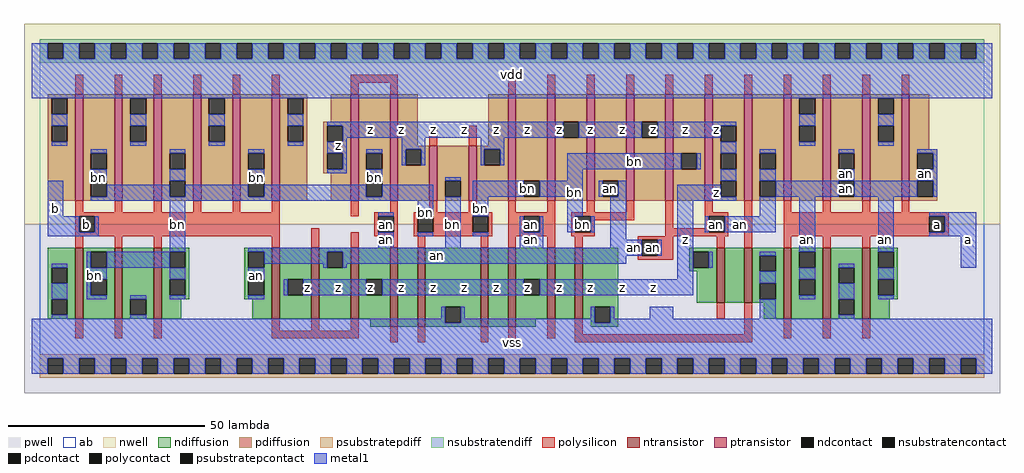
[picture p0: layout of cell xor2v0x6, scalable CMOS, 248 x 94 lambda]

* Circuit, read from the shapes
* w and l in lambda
.subckt xor2v0x6 a an b bn vdd vss z
M1 bn b vss vss nfet w=18 l=2 m=3
M2 z b an vss nfet w=18 l=2 m=3
M3 n1 an z vss nfet w=20 l=2
M4 vss bn n1 vss nfet w=20 l=2
M5 n2 bn vss vss nfet w=20 l=2
M6 z an n2 vss nfet w=20 l=2
M7 n3 an z vss nfet w=18 l=2
M8 vss bn n3 vss nfet w=18 l=2
M9 n4 an z vss nfet w=14 l=2
M10 vss bn n4 vss nfet w=14 l=2
M11 an a vss vss nfet w=18 l=2 m=3
M12 bn b vdd vdd pfet w=27 l=2 m=6
M13 bn an z vdd pfet w=27 l=2 m=6
M14 an bn z vdd pfet w=14 l=2 m=2
M15 an bn z vdd pfet w=27 l=2 m=3
M16 vdd a an vdd pfet w=27 l=2 m=4
.ends

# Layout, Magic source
magic
tech scmos
<< ab >>
rect 0 0 240 80
<< pwell >>
rect -4 -7 244 36
<< nwell >>
rect -4 36 244 87
<< polysilicon >>
rect 9 69 11 74
rect 19 69 21 74
rect 29 69 31 74
rect 39 69 41 74
rect 49 69 51 74
rect 59 69 61 74
rect 79 72 91 74
rect 79 69 81 72
rect 89 69 91 72
rect 119 69 121 74
rect 129 69 131 74
rect 139 69 141 74
rect 149 69 151 74
rect 159 69 161 74
rect 169 69 171 74
rect 179 69 181 74
rect 189 69 191 74
rect 199 69 201 74
rect 209 69 211 74
rect 219 69 221 74
rect 99 56 101 61
rect 109 56 111 61
rect 9 39 11 42
rect 19 39 21 42
rect 29 39 31 42
rect 39 39 41 42
rect 49 39 51 42
rect 59 39 61 42
rect 9 38 61 39
rect 79 38 81 42
rect 89 39 91 42
rect 99 39 101 42
rect 109 39 111 42
rect 119 39 121 42
rect 129 39 131 42
rect 139 39 141 42
rect 149 39 151 42
rect 85 38 91 39
rect 9 34 10 38
rect 14 34 61 38
rect 9 33 61 34
rect 9 30 11 33
rect 19 30 21 33
rect 29 30 31 33
rect 59 30 61 33
rect 69 30 71 35
rect 85 34 86 38
rect 90 34 91 38
rect 79 30 81 34
rect 85 33 91 34
rect 95 38 115 39
rect 95 34 96 38
rect 100 34 110 38
rect 114 34 115 38
rect 95 33 115 34
rect 119 38 131 39
rect 119 34 123 38
rect 127 34 131 38
rect 119 33 131 34
rect 135 38 151 39
rect 135 34 136 38
rect 140 37 151 38
rect 140 34 141 37
rect 135 33 141 34
rect 159 35 161 42
rect 169 39 171 42
rect 169 38 175 39
rect 169 35 170 38
rect 159 34 170 35
rect 174 34 175 38
rect 159 33 175 34
rect 89 30 91 33
rect 96 30 98 33
rect 112 30 114 33
rect 119 30 121 33
rect 129 30 131 33
rect 136 30 138 33
rect 152 32 161 33
rect 9 7 11 12
rect 19 7 21 12
rect 29 7 31 12
rect 59 9 61 12
rect 69 9 71 12
rect 79 9 81 12
rect 152 28 153 32
rect 157 28 161 32
rect 172 30 174 33
rect 179 30 181 42
rect 189 39 191 42
rect 199 39 201 42
rect 209 39 211 42
rect 219 39 221 42
rect 189 38 231 39
rect 189 34 226 38
rect 230 34 231 38
rect 189 33 231 34
rect 189 30 191 33
rect 199 30 201 33
rect 209 30 211 33
rect 152 27 161 28
rect 59 7 81 9
rect 89 6 91 10
rect 96 6 98 10
rect 112 6 114 10
rect 119 6 121 10
rect 129 7 131 12
rect 136 8 138 12
rect 172 12 174 16
rect 179 8 181 16
rect 136 6 181 8
rect 189 7 191 12
rect 199 7 201 12
rect 209 7 211 12
<< ndiffusion >>
rect 2 25 9 30
rect 2 21 3 25
rect 7 21 9 25
rect 2 17 9 21
rect 2 13 3 17
rect 7 13 9 17
rect 2 12 9 13
rect 11 29 19 30
rect 11 25 13 29
rect 17 25 19 29
rect 11 22 19 25
rect 11 18 13 22
rect 17 18 19 22
rect 11 12 19 18
rect 21 17 29 30
rect 21 13 23 17
rect 27 13 29 17
rect 21 12 29 13
rect 31 29 38 30
rect 31 25 33 29
rect 37 25 38 29
rect 31 22 38 25
rect 31 18 33 22
rect 37 18 38 22
rect 31 17 38 18
rect 52 29 59 30
rect 52 25 53 29
rect 57 25 59 29
rect 52 22 59 25
rect 52 18 53 22
rect 57 18 59 22
rect 52 17 59 18
rect 31 12 36 17
rect 54 12 59 17
rect 61 22 69 30
rect 61 18 63 22
rect 67 18 69 22
rect 61 12 69 18
rect 71 29 79 30
rect 71 25 73 29
rect 77 25 79 29
rect 71 12 79 25
rect 81 22 89 30
rect 81 18 83 22
rect 87 18 89 22
rect 81 12 89 18
rect 84 10 89 12
rect 91 10 96 30
rect 98 15 112 30
rect 98 11 103 15
rect 107 11 112 15
rect 98 10 112 11
rect 114 10 119 30
rect 121 22 129 30
rect 121 18 123 22
rect 127 18 129 22
rect 121 12 129 18
rect 131 12 136 30
rect 138 15 147 30
rect 165 29 172 30
rect 165 25 166 29
rect 170 25 172 29
rect 165 24 172 25
rect 167 16 172 24
rect 174 16 179 30
rect 181 28 189 30
rect 181 24 183 28
rect 187 24 189 28
rect 181 21 189 24
rect 181 17 183 21
rect 187 17 189 21
rect 181 16 189 17
rect 138 12 141 15
rect 121 10 126 12
rect 140 11 141 12
rect 145 11 147 15
rect 140 10 147 11
rect 184 12 189 16
rect 191 29 199 30
rect 191 25 193 29
rect 197 25 199 29
rect 191 22 199 25
rect 191 18 193 22
rect 197 18 199 22
rect 191 12 199 18
rect 201 25 209 30
rect 201 21 203 25
rect 207 21 209 25
rect 201 17 209 21
rect 201 13 203 17
rect 207 13 209 17
rect 201 12 209 13
rect 211 29 218 30
rect 211 25 213 29
rect 217 25 218 29
rect 211 22 218 25
rect 211 18 213 22
rect 217 18 218 22
rect 211 17 218 18
rect 211 12 216 17
<< pdiffusion >>
rect 2 68 9 69
rect 2 64 3 68
rect 7 64 9 68
rect 2 61 9 64
rect 2 57 3 61
rect 7 57 9 61
rect 2 42 9 57
rect 11 54 19 69
rect 11 50 13 54
rect 17 50 19 54
rect 11 47 19 50
rect 11 43 13 47
rect 17 43 19 47
rect 11 42 19 43
rect 21 68 29 69
rect 21 64 23 68
rect 27 64 29 68
rect 21 61 29 64
rect 21 57 23 61
rect 27 57 29 61
rect 21 42 29 57
rect 31 54 39 69
rect 31 50 33 54
rect 37 50 39 54
rect 31 47 39 50
rect 31 43 33 47
rect 37 43 39 47
rect 31 42 39 43
rect 41 68 49 69
rect 41 64 43 68
rect 47 64 49 68
rect 41 61 49 64
rect 41 57 43 61
rect 47 57 49 61
rect 41 42 49 57
rect 51 54 59 69
rect 51 50 53 54
rect 57 50 59 54
rect 51 47 59 50
rect 51 43 53 47
rect 57 43 59 47
rect 51 42 59 43
rect 61 68 68 69
rect 61 64 63 68
rect 67 64 68 68
rect 61 61 68 64
rect 74 62 79 69
rect 61 57 63 61
rect 67 57 68 61
rect 61 42 68 57
rect 72 61 79 62
rect 72 57 73 61
rect 77 57 79 61
rect 72 54 79 57
rect 72 50 73 54
rect 77 50 79 54
rect 72 49 79 50
rect 74 42 79 49
rect 81 54 89 69
rect 81 50 83 54
rect 87 50 89 54
rect 81 47 89 50
rect 81 43 83 47
rect 87 43 89 47
rect 81 42 89 43
rect 91 56 96 69
rect 114 56 119 69
rect 91 55 99 56
rect 91 51 93 55
rect 97 51 99 55
rect 91 42 99 51
rect 101 47 109 56
rect 101 43 103 47
rect 107 43 109 47
rect 101 42 109 43
rect 111 55 119 56
rect 111 51 113 55
rect 117 51 119 55
rect 111 42 119 51
rect 121 47 129 69
rect 121 43 123 47
rect 127 43 129 47
rect 121 42 129 43
rect 131 62 139 69
rect 131 58 133 62
rect 137 58 139 62
rect 131 42 139 58
rect 141 47 149 69
rect 141 43 143 47
rect 147 43 149 47
rect 141 42 149 43
rect 151 62 159 69
rect 151 58 153 62
rect 157 58 159 62
rect 151 42 159 58
rect 161 54 169 69
rect 161 50 163 54
rect 167 50 169 54
rect 161 42 169 50
rect 171 61 179 69
rect 171 57 173 61
rect 177 57 179 61
rect 171 54 179 57
rect 171 50 173 54
rect 177 50 179 54
rect 171 47 179 50
rect 171 43 173 47
rect 177 43 179 47
rect 171 42 179 43
rect 181 54 189 69
rect 181 50 183 54
rect 187 50 189 54
rect 181 47 189 50
rect 181 43 183 47
rect 187 43 189 47
rect 181 42 189 43
rect 191 68 199 69
rect 191 64 193 68
rect 197 64 199 68
rect 191 61 199 64
rect 191 57 193 61
rect 197 57 199 61
rect 191 42 199 57
rect 201 54 209 69
rect 201 50 203 54
rect 207 50 209 54
rect 201 47 209 50
rect 201 43 203 47
rect 207 43 209 47
rect 201 42 209 43
rect 211 68 219 69
rect 211 64 213 68
rect 217 64 219 68
rect 211 61 219 64
rect 211 57 213 61
rect 217 57 219 61
rect 211 42 219 57
rect 221 55 226 69
rect 221 54 228 55
rect 221 50 223 54
rect 227 50 228 54
rect 221 47 228 50
rect 221 43 223 47
rect 227 43 228 47
rect 221 42 228 43
<< metal1 >>
rect -2 78 2 82
rect 6 78 10 82
rect 14 78 18 82
rect 22 78 26 82
rect 30 78 34 82
rect 38 78 42 82
rect 46 78 50 82
rect 54 78 58 82
rect 62 78 66 82
rect 70 78 74 82
rect 78 78 82 82
rect 86 78 90 82
rect 94 78 98 82
rect 102 78 106 82
rect 110 78 114 82
rect 118 78 122 82
rect 126 78 130 82
rect 134 78 138 82
rect 142 78 146 82
rect 150 78 154 82
rect 158 78 162 82
rect 166 78 170 82
rect 174 78 178 82
rect 182 78 186 82
rect 190 78 194 82
rect 198 78 202 82
rect 206 78 210 82
rect 214 78 218 82
rect 222 78 226 82
rect 230 78 234 82
rect 238 78 242 82
rect -2 68 242 78
rect 3 61 7 64
rect 3 56 7 57
rect 23 61 27 64
rect 23 56 27 57
rect 43 61 47 64
rect 43 56 47 57
rect 63 61 67 64
rect 63 56 67 57
rect 73 61 133 62
rect 77 58 133 61
rect 137 58 153 62
rect 157 61 177 62
rect 157 58 173 61
rect 77 57 78 58
rect 13 54 17 55
rect 13 47 17 50
rect 2 38 6 47
rect 33 54 37 55
rect 33 47 37 50
rect 17 43 33 46
rect 53 54 57 55
rect 53 47 57 50
rect 73 54 78 57
rect 92 55 98 58
rect 77 50 78 54
rect 73 49 78 50
rect 83 54 87 55
rect 92 51 93 55
rect 97 51 98 55
rect 112 55 118 58
rect 112 51 113 55
rect 117 51 118 55
rect 173 54 177 57
rect 193 61 197 64
rect 193 56 197 57
rect 213 61 217 64
rect 213 56 217 57
rect 37 43 53 46
rect 83 47 87 50
rect 134 50 163 54
rect 167 50 168 54
rect 57 43 83 46
rect 103 47 107 48
rect 134 47 138 50
rect 173 47 177 50
rect 87 43 100 46
rect 13 42 100 43
rect 2 34 10 38
rect 14 34 15 38
rect 2 33 15 34
rect 33 29 37 42
rect 86 38 90 39
rect 86 30 90 34
rect 96 38 100 42
rect 96 33 100 34
rect 103 30 107 43
rect 110 43 123 47
rect 127 43 138 47
rect 142 43 143 47
rect 147 43 149 47
rect 110 38 114 43
rect 134 38 138 43
rect 110 33 114 34
rect 122 34 123 38
rect 127 34 128 38
rect 134 34 136 38
rect 140 34 141 38
rect 122 30 128 34
rect 145 32 149 43
rect 162 43 173 46
rect 162 42 177 43
rect 183 54 187 55
rect 183 47 187 50
rect 203 54 207 55
rect 203 47 207 50
rect 223 54 228 55
rect 227 50 228 54
rect 223 47 228 50
rect 187 43 203 47
rect 207 43 223 47
rect 227 43 228 47
rect 145 30 153 32
rect 3 25 7 26
rect 3 17 7 21
rect 12 25 13 29
rect 17 25 33 29
rect 12 22 17 25
rect 12 18 13 22
rect 33 22 37 25
rect 12 17 17 18
rect 23 17 27 18
rect 33 17 37 18
rect 53 29 153 30
rect 57 26 73 29
rect 72 25 73 26
rect 77 28 153 29
rect 157 28 158 32
rect 77 26 149 28
rect 77 25 78 26
rect 53 22 57 25
rect 162 22 166 42
rect 183 38 187 43
rect 169 34 170 38
rect 174 34 187 38
rect 193 29 197 43
rect 170 25 171 29
rect 183 28 187 29
rect 62 18 63 22
rect 67 18 83 22
rect 87 18 123 22
rect 127 18 166 22
rect 183 21 187 24
rect 53 17 57 18
rect 213 29 217 43
rect 226 38 238 39
rect 230 34 238 38
rect 226 33 238 34
rect 193 22 197 25
rect 193 17 197 18
rect 203 25 207 26
rect 203 17 207 21
rect 234 25 238 33
rect 213 22 217 25
rect 213 17 217 18
rect 3 12 7 13
rect 23 12 27 13
rect 102 12 103 15
rect -2 11 103 12
rect 107 12 108 15
rect 140 12 141 15
rect 107 11 141 12
rect 145 12 146 15
rect 155 12 161 15
rect 183 12 187 17
rect 203 12 207 13
rect 145 11 242 12
rect -2 2 242 11
rect -2 -2 2 2
rect 6 -2 10 2
rect 14 -2 18 2
rect 22 -2 26 2
rect 30 -2 34 2
rect 38 -2 42 2
rect 46 -2 50 2
rect 54 -2 58 2
rect 62 -2 66 2
rect 70 -2 74 2
rect 78 -2 82 2
rect 86 -2 90 2
rect 94 -2 98 2
rect 102 -2 106 2
rect 110 -2 114 2
rect 118 -2 122 2
rect 126 -2 130 2
rect 134 -2 138 2
rect 142 -2 146 2
rect 150 -2 154 2
rect 158 -2 162 2
rect 166 -2 170 2
rect 174 -2 178 2
rect 182 -2 186 2
rect 190 -2 194 2
rect 198 -2 202 2
rect 206 -2 210 2
rect 214 -2 218 2
rect 222 -2 226 2
rect 230 -2 234 2
rect 238 -2 242 2
<< ntransistor >>
rect 9 12 11 30
rect 19 12 21 30
rect 29 12 31 30
rect 59 12 61 30
rect 69 12 71 30
rect 79 12 81 30
rect 89 10 91 30
rect 96 10 98 30
rect 112 10 114 30
rect 119 10 121 30
rect 129 12 131 30
rect 136 12 138 30
rect 172 16 174 30
rect 179 16 181 30
rect 189 12 191 30
rect 199 12 201 30
rect 209 12 211 30
<< ptransistor >>
rect 9 42 11 69
rect 19 42 21 69
rect 29 42 31 69
rect 39 42 41 69
rect 49 42 51 69
rect 59 42 61 69
rect 79 42 81 69
rect 89 42 91 69
rect 99 42 101 56
rect 109 42 111 56
rect 119 42 121 69
rect 129 42 131 69
rect 139 42 141 69
rect 149 42 151 69
rect 159 42 161 69
rect 169 42 171 69
rect 179 42 181 69
rect 189 42 191 69
rect 199 42 201 69
rect 209 42 211 69
rect 219 42 221 69
<< polycontact >>
rect 10 34 14 38
rect 86 34 90 38
rect 96 34 100 38
rect 110 34 114 38
rect 123 34 127 38
rect 136 34 140 38
rect 170 34 174 38
rect 153 28 157 32
rect 226 34 230 38
<< ndcontact >>
rect 3 21 7 25
rect 3 13 7 17
rect 13 25 17 29
rect 13 18 17 22
rect 23 13 27 17
rect 33 25 37 29
rect 33 18 37 22
rect 53 25 57 29
rect 53 18 57 22
rect 63 18 67 22
rect 73 25 77 29
rect 83 18 87 22
rect 103 11 107 15
rect 123 18 127 22
rect 166 25 170 29
rect 183 24 187 28
rect 183 17 187 21
rect 141 11 145 15
rect 193 25 197 29
rect 193 18 197 22
rect 203 21 207 25
rect 203 13 207 17
rect 213 25 217 29
rect 213 18 217 22
<< pdcontact >>
rect 3 64 7 68
rect 3 57 7 61
rect 13 50 17 54
rect 13 43 17 47
rect 23 64 27 68
rect 23 57 27 61
rect 33 50 37 54
rect 33 43 37 47
rect 43 64 47 68
rect 43 57 47 61
rect 53 50 57 54
rect 53 43 57 47
rect 63 64 67 68
rect 63 57 67 61
rect 73 57 77 61
rect 73 50 77 54
rect 83 50 87 54
rect 83 43 87 47
rect 93 51 97 55
rect 103 43 107 47
rect 113 51 117 55
rect 123 43 127 47
rect 133 58 137 62
rect 143 43 147 47
rect 153 58 157 62
rect 163 50 167 54
rect 173 57 177 61
rect 173 50 177 54
rect 173 43 177 47
rect 183 50 187 54
rect 183 43 187 47
rect 193 64 197 68
rect 193 57 197 61
rect 203 50 207 54
rect 203 43 207 47
rect 213 64 217 68
rect 213 57 217 61
rect 223 50 227 54
rect 223 43 227 47
<< psubstratepcontact >>
rect 2 -2 6 2
rect 10 -2 14 2
rect 18 -2 22 2
rect 26 -2 30 2
rect 34 -2 38 2
rect 42 -2 46 2
rect 50 -2 54 2
rect 58 -2 62 2
rect 66 -2 70 2
rect 74 -2 78 2
rect 82 -2 86 2
rect 90 -2 94 2
rect 98 -2 102 2
rect 106 -2 110 2
rect 114 -2 118 2
rect 122 -2 126 2
rect 130 -2 134 2
rect 138 -2 142 2
rect 146 -2 150 2
rect 154 -2 158 2
rect 162 -2 166 2
rect 170 -2 174 2
rect 178 -2 182 2
rect 186 -2 190 2
rect 194 -2 198 2
rect 202 -2 206 2
rect 210 -2 214 2
rect 218 -2 222 2
rect 226 -2 230 2
rect 234 -2 238 2
<< nsubstratencontact >>
rect 2 78 6 82
rect 10 78 14 82
rect 18 78 22 82
rect 26 78 30 82
rect 34 78 38 82
rect 42 78 46 82
rect 50 78 54 82
rect 58 78 62 82
rect 66 78 70 82
rect 74 78 78 82
rect 82 78 86 82
rect 90 78 94 82
rect 98 78 102 82
rect 106 78 110 82
rect 114 78 118 82
rect 122 78 126 82
rect 130 78 134 82
rect 138 78 142 82
rect 146 78 150 82
rect 154 78 158 82
rect 162 78 166 82
rect 170 78 174 82
rect 178 78 182 82
rect 186 78 190 82
rect 194 78 198 82
rect 202 78 206 82
rect 210 78 214 82
rect 218 78 222 82
rect 226 78 230 82
rect 234 78 238 82
<< psubstratepdiff >>
rect 0 2 240 3
rect 0 -2 2 2
rect 6 -2 10 2
rect 14 -2 18 2
rect 22 -2 26 2
rect 30 -2 34 2
rect 38 -2 42 2
rect 46 -2 50 2
rect 54 -2 58 2
rect 62 -2 66 2
rect 70 -2 74 2
rect 78 -2 82 2
rect 86 -2 90 2
rect 94 -2 98 2
rect 102 -2 106 2
rect 110 -2 114 2
rect 118 -2 122 2
rect 126 -2 130 2
rect 134 -2 138 2
rect 142 -2 146 2
rect 150 -2 154 2
rect 158 -2 162 2
rect 166 -2 170 2
rect 174 -2 178 2
rect 182 -2 186 2
rect 190 -2 194 2
rect 198 -2 202 2
rect 206 -2 210 2
rect 214 -2 218 2
rect 222 -2 226 2
rect 230 -2 234 2
rect 238 -2 240 2
rect 0 -3 240 -2
<< nsubstratendiff >>
rect 0 82 240 83
rect 0 78 2 82
rect 6 78 10 82
rect 14 78 18 82
rect 22 78 26 82
rect 30 78 34 82
rect 38 78 42 82
rect 46 78 50 82
rect 54 78 58 82
rect 62 78 66 82
rect 70 78 74 82
rect 78 78 82 82
rect 86 78 90 82
rect 94 78 98 82
rect 102 78 106 82
rect 110 78 114 82
rect 118 78 122 82
rect 126 78 130 82
rect 134 78 138 82
rect 142 78 146 82
rect 150 78 154 82
rect 158 78 162 82
rect 166 78 170 82
rect 174 78 178 82
rect 182 78 186 82
rect 190 78 194 82
rect 198 78 202 82
rect 206 78 210 82
rect 214 78 218 82
rect 222 78 226 82
rect 230 78 234 82
rect 238 78 240 82
rect 0 77 240 78
<< labels >>
rlabel polycontact 88 36 88 36 6 an
rlabel polysilicon 105 36 105 36 6 bn
rlabel polycontact 125 36 125 36 6 an
rlabel polycontact 138 36 138 36 6 bn
rlabel polycontact 156 30 156 30 6 an
rlabel polycontact 172 36 172 36 6 an
rlabel metal1 14 23 14 23 6 bn
rlabel polycontact 12 36 12 36 6 b
rlabel metal1 4 40 4 40 6 b
rlabel metal1 35 36 35 36 6 bn
rlabel metal1 15 48 15 48 6 bn
rlabel metal1 76 20 76 20 6 z
rlabel metal1 68 20 68 20 6 z
rlabel metal1 55 23 55 23 6 an
rlabel metal1 76 56 76 56 6 z
rlabel metal1 55 48 55 48 6 bn
rlabel metal1 100 20 100 20 6 z
rlabel metal1 108 20 108 20 6 z
rlabel metal1 116 20 116 20 6 z
rlabel metal1 92 20 92 20 6 z
rlabel ndcontact 84 20 84 20 6 z
rlabel metal1 88 32 88 32 6 an
rlabel metal1 98 39 98 39 6 bn
rlabel metal1 112 40 112 40 6 bn
rlabel metal1 105 37 105 37 6 an
rlabel metal1 85 48 85 48 6 bn
rlabel metal1 116 60 116 60 6 z
rlabel metal1 108 60 108 60 6 z
rlabel metal1 100 60 100 60 6 z
rlabel metal1 92 60 92 60 6 z
rlabel metal1 84 60 84 60 6 z
rlabel metal1 120 6 120 6 6 vss
rlabel ndcontact 124 20 124 20 6 z
rlabel metal1 156 20 156 20 6 z
rlabel metal1 148 20 148 20 6 z
rlabel metal1 132 20 132 20 6 z
rlabel metal1 140 20 140 20 6 z
rlabel metal1 151 30 151 30 6 an
rlabel metal1 125 32 125 32 6 an
rlabel metal1 101 28 101 28 6 an
rlabel metal1 136 44 136 44 6 bn
rlabel pdcontact 124 45 124 45 6 bn
rlabel pdcontact 145 45 145 45 6 an
rlabel metal1 124 60 124 60 6 z
rlabel pdcontact 156 60 156 60 6 z
rlabel metal1 148 60 148 60 6 z
rlabel metal1 140 60 140 60 6 z
rlabel metal1 132 60 132 60 6 z
rlabel metal1 120 74 120 74 6 vdd
rlabel metal1 164 32 164 32 6 z
rlabel metal1 178 36 178 36 6 an
rlabel metal1 172 44 172 44 6 z
rlabel metal1 195 32 195 32 6 an
rlabel metal1 151 52 151 52 6 bn
rlabel metal1 164 60 164 60 6 z
rlabel metal1 172 60 172 60 6 z
rlabel polycontact 228 36 228 36 6 a
rlabel metal1 236 32 236 32 6 a
rlabel metal1 215 32 215 32 6 an
rlabel pdcontact 205 45 205 45 6 an
rlabel metal1 225 49 225 49 6 an
rlabel metal1 205 49 205 49 6 an
<< end >>
